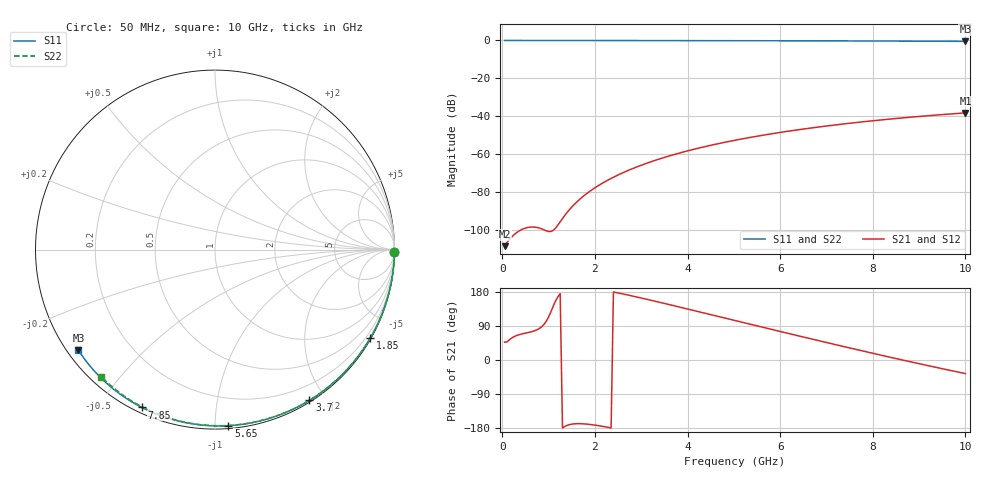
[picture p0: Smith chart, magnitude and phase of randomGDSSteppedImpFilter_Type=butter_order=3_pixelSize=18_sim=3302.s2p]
! freq	dB(S11)	phase(S11)	dB(S12)	phase(S12)
!  dB(S21)	phase(S21)	dB(S22)	phase(S22)
!S-par simulation data
#  GHz  S  DB  R 50
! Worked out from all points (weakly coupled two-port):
!   200 points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, 50 MHz to 10 GHz, reference 50 ohm
!   highest |S21| = -38.13 dB at 10 GHz (marker M1); lowest = -108.3 dB at 50 MHz (marker M2)
!   lowest |S11| = -0.5 dB at 10 GHz (marker M3), VSWR 35.31, Z = 1.57 - j16.4 ohm
!   |S11| at or under -10 dB: nowhere
!   |S22| runs from -0.4 to 0.0 dB; largest |S21 - S12| = 0
!   S11 on the Smith chart (normalised r, x): 50 MHz: open; 1.85 GHz: 0.03, -3.78; 3.7 GHz: 0.02, -1.81; 5.65 GHz: 0.02, -1.08; 7.85 GHz: 0.02, -0.64; 10 GHz: 0.03, -0.33
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0.05  -0.00 -0.8  -108.30 47.2  -108.30 47.2  -0.00 -0.8
0.45  -0.00 -7.3  -99.22 69.5  -99.22 69.5  -0.01 -6.9
0.85  -0.01 -13.8  -99.18 87.7  -99.18 87.7  -0.02 -12.9
1.3  -0.03 -21.0  -93.73 -179.4  -93.73 -179.4  -0.02 -19.6
1.75  -0.04 -28.1  -82.00 -168.4  -82.00 -168.4  -0.03 -26.3
1.85  -0.04 -29.7  -80.11 -169.5  -80.11 -169.5  -0.04 -27.8
2.15  -0.04 -34.4  -75.30 -174.8  -75.30 -174.8  -0.04 -32.2
2.35  -0.05 -37.5  -72.62 -179.3  -72.62 -179.3  -0.04 -35.1
2.55  -0.05 -40.6  -70.24 175.7  -70.24 175.7  -0.05 -38.0
2.95  -0.06 -46.7  -66.15 165.0  -66.15 165.0  -0.06 -43.7
3.4  -0.07 -53.5  -62.33 152.2  -62.33 152.2  -0.07 -50.1
3.7  -0.08 -57.9  -60.12 143.5  -60.12 143.5  -0.07 -54.3
4.35  -0.10 -67.4  -56.03 124.2  -56.03 124.2  -0.09 -63.2
5.05  -0.12 -77.3  -52.42 103.4  -52.42 103.4  -0.11 -72.5
5.65  -0.14 -85.7  -49.79 85.6  -49.79 85.6  -0.13 -80.2
6.15  -0.16 -92.5  -47.87 70.9  -47.87 70.9  -0.15 -86.6
6.7  -0.19 -99.8  -45.98 54.8  -45.98 54.8  -0.18 -93.4
7.25  -0.23 -107.1  -44.29 39.0  -44.29 39.0  -0.21 -100.1
7.85  -0.27 -114.9  -42.66 21.9  -42.66 21.9  -0.25 -107.2
8.35  -0.31 -121.4  -41.43 7.9  -41.43 7.9  -0.29 -113.0
9.2  -0.39 -132.6  -39.61 -15.1  -39.61 -15.1  -0.36 -122.8
10  -0.49 -143.6  -38.13 -35.9  -38.13 -35.9  -0.45 -131.9
